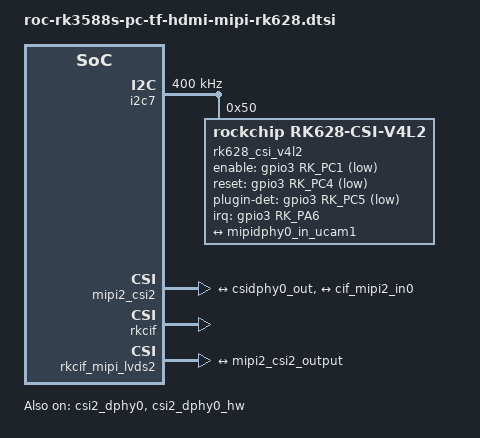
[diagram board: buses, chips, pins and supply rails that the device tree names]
// SPDX-License-Identifier: (GPL-2.0+ OR MIT)
/*
 * Copyright (c) 2021 Rockchip Electronics Co., Ltd.
 *
 */

/ {
	cam_ircut0: cam_ircut {
		status = "disabled";
		compatible = "rockchip,ircut";
		ircut-open-gpios = <&gpio4 RK_PA6 GPIO_ACTIVE_HIGH>;
		ircut-close-gpios  = <&gpio4 RK_PA7 GPIO_ACTIVE_HIGH>;
		rockchip,camera-module-index = <0>;
		rockchip,camera-module-facing = "back";
	};
	vcc_mipidphy0: vcc-mipidcphy0-regulator {
		status = "disabled";
		compatible = "regulator-fixed";
		gpio = <&gpio1 RK_PB1 GPIO_ACTIVE_HIGH>;
		pinctrl-names = "default";
		pinctrl-0 = <&mipidphy0_pwr>;
		regulator-name = "vcc_mipidphy0";
		enable-active-high;
	};
};

&csi2_dphy0 {
	status = "okay";
#ifdef FF_COMPATIBLE
	firefly-compatible;
#endif
	ports {
		#address-cells = <1>;
		#size-cells = <0>;
		port@0 {
			reg = <0>;
			#address-cells = <1>;
			#size-cells = <0>;

			mipidphy0_in_ucam1: endpoint@2 {
				reg = <2>;
				remote-endpoint = <&hdmiin_out0>;
				data-lanes = <1 2 3 4>;
			};
		};
		port@1 {
			reg = <1>;
			#address-cells = <1>;
			#size-cells = <0>;

			csidphy0_out: endpoint@0 {
				reg = <0>;
				remote-endpoint = <&mipi2_csi2_input0>;
			};
		};
	};
};

&csi2_dphy0_hw {
	status = "okay";
};

&i2c7 {
        status = "okay";
        pinctrl-names = "default";
        pinctrl-0 = <&i2c7m2_xfer>;
        clock-frequency = <400000>;

	rk628_csi_v4l2: rk628_csi_v4l2@50 {
	        reg = <0x50>;
	        compatible = "rockchip,rk628-csi-v4l2";
	        interrupt-parent = <&gpio3>;
	        interrupts = <RK_PA6 IRQ_TYPE_EDGE_RISING>;
	        enable-gpios = <&gpio3 RK_PC1 GPIO_ACTIVE_LOW>;
	        reset-gpios = <&gpio3 RK_PC4 GPIO_ACTIVE_LOW>;
	        plugin-det-gpios = <&gpio3 RK_PC5 GPIO_ACTIVE_LOW>;

		#define FF_COMPATIBLE 
	        rockchip,camera-module-index = <0>;
	        rockchip,camera-module-facing = "back";
	        rockchip,camera-module-name = "RK628-CSI";
	        rockchip,camera-module-lens-name = "NC";

	        port {
	                hdmiin_out0: endpoint {
	                        remote-endpoint = <&mipidphy0_in_ucam1>;
	                        data-lanes = <1 2 3 4>;
	                };
	        };
	};

};

&mipi2_csi2 {
	status = "okay";
#ifdef FF_COMPATIBLE
	firefly-compatible;
#endif
	ports {
		#address-cells = <1>;
		#size-cells = <0>;

		port@0 {
			reg = <0>;
			#address-cells = <1>;
			#size-cells = <0>;

			mipi2_csi2_input0: endpoint@0 {
				reg = <0>;
				remote-endpoint = <&csidphy0_out>;
			};
		};

		port@1 {
			reg = <1>;
			#address-cells = <1>;
			#size-cells = <0>;

			mipi2_csi2_output: endpoint@0 {
				reg = <0>;
				remote-endpoint = <&cif_mipi2_in0>;
			};
		};
	};
};

&pinctrl {
	cam {
		mipidphy0_pwr: mipidphy0-pwr {
			rockchip,pins =
				/* camera power en */
				<1 RK_PB1 RK_FUNC_GPIO &pcfg_pull_none>;
		};
	};
};

&rkcif {
	status = "okay";
//	memory-region = <&cif_reserved>;
};

&rkcif_mipi_lvds2 {
	status = "okay";

	port {
		cif_mipi2_in0: endpoint {
			remote-endpoint = <&mipi2_csi2_output>;
		};
	};
};
/*
&rkcif_mipi_lvds2_sditf {
	status = "disabled";

	port {
		mipi_lvds2_sditf: endpoint {
			remote-endpoint = <&isp0_vir0>;
		};
	};
};
*/
&rkcif_mmu {
	status = "okay";
};
/*
&rkisp0 {
	status = "disabled";
};

&isp0_mmu {
	status = "disabled";
};

&rkisp0_vir0 {
	status = "disabled";

	port {
		#address-cells = <1>;
		#size-cells = <0>;

		isp0_vir0: endpoint@0 {
			reg = <0>;
			remote-endpoint = <&mipi_lvds2_sditf>;
		};
	};
};
*/
